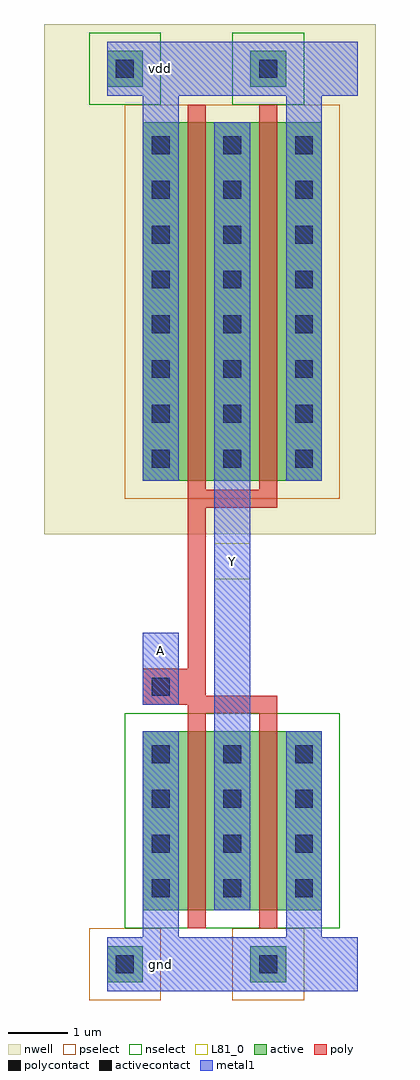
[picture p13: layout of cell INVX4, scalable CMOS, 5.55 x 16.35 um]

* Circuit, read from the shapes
.subckt INVX4 A Y gnd vdd
M1 Y A gnd gnd nfet w=3u l=0.3u m=2
M2 Y A vdd vdd pfet w=6u l=0.3u m=2
.ends

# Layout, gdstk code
import gdstk
lib = gdstk.Library(unit=1e-6, precision=1e-09)
def R(c, l, rs):  # rectangles x0, y0, x1, y1
    for r in rs: c.add(gdstk.rectangle(r[:2], r[2:], *l))
def A(c, l, x, y, w, h, nx, ny, dx, dy):  # array of equal rectangles
    R(c, l, [(x+i*dx, y+j*dy, x+i*dx+w, y+j*dy+h) for i in range(nx) for j in range(ny)])
nwell = (42, 0)
active = (43, 0)
pselect = (44, 0)
nselect = (45, 0)
poly = (46, 0)
polycontact = (47, 0)
activecontact = (48, 0)
metal1 = (49, 0)
L81_0 = (81, 0)

invx4 = lib.new_cell('INVX4')
R(invx4, nwell, [(-1.35,7.2,4.2,15.75)])
R(invx4, active, [(-0.3,-0.3,0.3,0.3), (2.1,-0.3,2.7,0.3), (0.3,0.9,3.3,3.9), (0.3,8.1,3.3,14.1), (-0.3,14.7,0.3,15.3), (2.1,14.7,2.7,15.3)])
R(invx4, pselect, [(-0.6,-0.6,0.6,0.6), (1.8,-0.6,3,0.6), (0,7.8,3.6,14.4)])
R(invx4, nselect, [(0,0.6,3.6,4.2), (-0.6,14.4,0.6,15.6), (1.8,14.4,3,15.6)])
R(invx4, poly, [(1.05,0.6,1.35,4.2), (2.25,0.6,2.55,4.2), (1.05,4.2,2.55,4.35), (0.3,4.35,2.55,4.5), (0.3,4.5,1.35,4.95), (1.05,4.95,1.35,7.65), (1.05,7.65,2.55,7.95), (1.05,7.95,1.35,14.4), (2.25,7.95,2.55,14.4)])
R(invx4, polycontact, [(0.45,4.5,0.75,4.8)])
A(invx4, activecontact, 0.45, 1.12, 0.3, 0.3, 3, 4, 1.2, 0.75)
A(invx4, activecontact, 0.45, 8.32, 0.3, 0.3, 3, 8, 1.2, 0.75)
R(invx4, activecontact, [(-0.15,-0.15,0.15,0.15), (2.25,-0.15,2.55,0.15), (-0.15,14.85,0.15,15.15), (2.25,14.85,2.55,15.15)])
R(invx4, metal1, [(-0.3,-0.45,3.9,0.45), (0.3,0.45,0.9,3.9), (2.7,0.45,3.3,3.9), (1.5,0.9,2.1,14.1), (0.3,4.35,0.9,5.55), (0.3,8.1,0.9,14.55), (2.7,8.1,3.3,14.55), (-0.3,14.55,3.9,15.45)])
R(invx4, L81_0, [(0.3,4.95,0.9,5.55), (1.5,6.45,2.1,7.05)])
invx4.add(gdstk.Label('vdd', (0.6,15), layer=109, texttype=0))
invx4.add(gdstk.Label('gnd', (0.6,0), layer=109, texttype=0))
invx4.add(gdstk.Label('Y', (1.8,6.75), layer=109, texttype=0))
invx4.add(gdstk.Label('A', (0.6,5.25), layer=109, texttype=0))

lib.write_gds('INVX4.gds')
